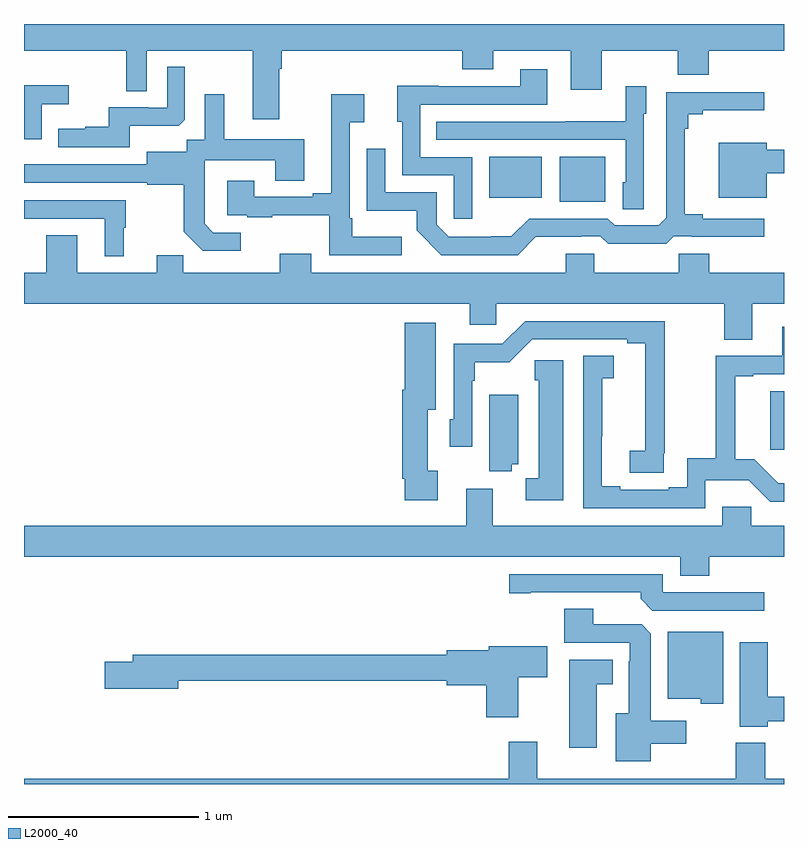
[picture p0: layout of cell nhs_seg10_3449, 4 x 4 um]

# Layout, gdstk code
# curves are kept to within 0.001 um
import gdstk
lib = gdstk.Library(unit=1e-6, precision=1e-09)
def R(c, l, rs):  # rectangles x0, y0, x1, y1
    for r in rs: c.add(gdstk.rectangle(r[:2], r[2:], *l))
def P(c, l, *ps):  # polygons
    for p in ps: c.add(gdstk.Polygon(p, *l))
L2000_40 = (2000, 40)

nhs_seg10_3449 = lib.new_cell('nhs_seg10_3449')
R(nhs_seg10_3449, L2000_40, [(302.927,1254.26,303,1254.567), (301.82,1255.565,302.059,1255.801), (301.448,1255.586,301.726,1255.801)])
P(nhs_seg10_3449, L2000_40, [(300.343,1256.264),(300.356,1256.264),(300.356,1256.36),(301.307,1256.36),(301.307,1256.261),(301.471,1256.261),(301.471,1256.36),(301.877,1256.36),(301.877,1256.154),(302.041,1256.154),(302.041,1256.36),(302.441,1256.36),(302.441,1256.232),(302.605,1256.232),(302.605,1256.36),(303,1256.36),(303,1256.5),(299,1256.5),(299,1256.36),(299.538,1256.36),(299.538,1256.146),(299.646,1256.146),(299.646,1256.36),(300.203,1256.36),(300.203,1255.998),(300.343,1255.998)],
  [(299.557,1255.964),(299.815,1255.964),(299.847,1255.995),(299.847,1256.275),(299.754,1256.275),(299.754,1256.058),(299.654,1256.058),(299.654,1256.061),(299.447,1256.061),(299.447,1255.96),(299.323,1255.96),(299.323,1255.948),(299.179,1255.948),(299.179,1255.851),(299.557,1255.851)],
  [(301.359,1255.8),(301.086,1255.8),(301.086,1256.076),(301.753,1256.076),(301.753,1256.263),(301.613,1256.263),(301.613,1256.172),(301.183,1256.172),(301.183,1256.174),(300.965,1256.174),(300.965,1255.986),(300.99,1255.986),(300.99,1255.704),(301.263,1255.704),(301.263,1255.476),(301.359,1255.476)],
  [(299.094,1256.078),(299.236,1256.078),(299.236,1256.177),(299,1256.177),(299,1255.893),(299.094,1255.893)],
  [(302.262,1256.028),(302.275,1256.028),(302.275,1256.173),(302.166,1256.173),(302.166,1255.987),(301.849,1255.987),(301.849,1255.986),(301.171,1255.986),(301.171,1255.89),(302.166,1255.89),(302.166,1255.668),(302.15,1255.668),(302.15,1255.525),(302.262,1255.525)],
  [(301.694,1255.379),(301.934,1255.379),(301.934,1255.383),(302.034,1255.383),(302.074,1255.344),(302.381,1255.344),(302.421,1255.383),(302.515,1255.383),(302.515,1255.379),(302.896,1255.379),(302.896,1255.476),(302.572,1255.476),(302.572,1255.499),(302.477,1255.499),(302.477,1255.949),(302.495,1255.949),(302.495,1256.026),(302.572,1256.026),(302.572,1256.045),(302.896,1256.045),(302.896,1256.142),(302.379,1256.142),(302.379,1255.479),(302.34,1255.44),(302.109,1255.44),(302.073,1255.476),(301.659,1255.476),(301.565,1255.382),(301.46,1255.382),(301.46,1255.38),(301.236,1255.38),(301.173,1255.443),(301.173,1255.614),(300.9,1255.614),(300.9,1255.843),(300.804,1255.843),(300.804,1255.517),(301.066,1255.517),(301.066,1255.415),(301.196,1255.284),(301.599,1255.284)],
  [(300.142,1255.401),(299.997,1255.401),(299.95,1255.448),(299.95,1255.543),(299.952,1255.543),(299.952,1255.784),(300.323,1255.784),(300.323,1255.675),(300.475,1255.675),(300.475,1255.894),(300.055,1255.894),(300.055,1256.131),(299.951,1256.131),(299.951,1255.892),(299.856,1255.892),(299.856,1255.828),(299.645,1255.828),(299.645,1255.761),(299,1255.762),(299,1255.665),(299.649,1255.665),(299.649,1255.653),(299.841,1255.653),(299.841,1255.407),(299.941,1255.307),(300.142,1255.307)],
  [(300.988,1255.381),(300.727,1255.381),(300.727,1255.477),(300.714,1255.477),(300.714,1255.982),(300.79,1255.982),(300.79,1256.131),(300.617,1256.131),(300.617,1255.609),(300.521,1255.609),(300.521,1255.59),(300.211,1255.59),(300.211,1255.675),(300.071,1255.675),(300.071,1255.494),(300.175,1255.494),(300.175,1255.482),(300.307,1255.482),(300.307,1255.493),(300.606,1255.493),(300.606,1255.284),(300.988,1255.284)],
  [(302.908,1255.715),(303,1255.715),(303,1255.837),(302.908,1255.837),(302.908,1255.876),(302.657,1255.876),(302.657,1255.586),(302.908,1255.586)],
  [(299.524,1255.428),(299.536,1255.428),(299.536,1255.572),(299,1255.572),(299,1255.476),(299.426,1255.476),(299.426,1255.277),(299.524,1255.277)],
  [(302.833,1255.028),(303,1255.028),(303,1255.192),(302.606,1255.192),(302.606,1255.29),(302.446,1255.29),(302.446,1255.192),(302.001,1255.192),(302.001,1255.29),(301.85,1255.29),(301.85,1255.192),(300.511,1255.192),(300.511,1255.291),(300.347,1255.291),(300.347,1255.192),(299.837,1255.192),(299.837,1255.283),(299.699,1255.283),(299.699,1255.192),(299.281,1255.192),(299.281,1255.387),(299.117,1255.387),(299.117,1255.192),(299,1255.192),(299,1255.028),(301.346,1255.028),(301.346,1254.918),(301.485,1254.918),(301.485,1255.028),(302.686,1255.028),(302.686,1254.838),(302.833,1254.838)],
  [(302.366,1254.241),(302.372,1254.241),(302.372,1254.936),(301.638,1254.936),(301.518,1254.816),(301.263,1254.816),(301.263,1254.42),(301.242,1254.42),(301.242,1254.276),(301.359,1254.276),(301.359,1254.623),(301.372,1254.623),(301.372,1254.719),(301.553,1254.719),(301.674,1254.84),(302.174,1254.84),(302.174,1254.82),(302.27,1254.82),(302.269,1254.254),(302.187,1254.254),(302.187,1254.139),(302.366,1254.139)],
  [(301.177,1254.15),(301.126,1254.15),(301.126,1254.47),(301.168,1254.47),(301.168,1254.928),(301.004,1254.928),(301.004,1254.574),(300.992,1254.574),(300.992,1254.106),(301.004,1254.106),(301.004,1253.994),(301.177,1253.994)],
  [(302.586,1254.098),(302.815,1254.098),(302.928,1253.985),(303,1253.985),(303,1254.082),(302.969,1254.082),(302.843,1254.208),(302.744,1254.208),(302.744,1254.645),(302.839,1254.645),(302.839,1254.657),(303,1254.657),(303,1254.907),(302.99,1254.907),(302.99,1254.753),(302.641,1254.753),(302.641,1254.215),(302.49,1254.215),(302.49,1254.062),(302.393,1254.062),(302.393,1254.048),(302.137,1254.048),(302.137,1254.068),(302.041,1254.068),(302.041,1254.331),(302.043,1254.331),(302.043,1254.635),(302.104,1254.635),(302.104,1254.755),(301.944,1254.755),(301.944,1253.952),(302.586,1253.952)],
  [(301.837,1254.73),(301.687,1254.73),(301.687,1254.624),(301.709,1254.624),(301.709,1254.108),(301.641,1254.108),(301.641,1253.993),(301.837,1253.993)],
  [(301.568,1254.182),(301.6,1254.182),(301.6,1254.55),(301.448,1254.55),(301.448,1254.145),(301.568,1254.145)],
  [(302.606,1253.696),(303,1253.696),(303,1253.86),(302.827,1253.86),(302.827,1253.958),(302.675,1253.958),(302.675,1253.86),(301.468,1253.86),(301.468,1254.055),(301.328,1254.055),(301.328,1253.86),(299,1253.86),(299,1253.696),(302.453,1253.696),(302.453,1253.597),(302.606,1253.597)],
  [(302.896,1253.508),(302.361,1253.508),(302.361,1253.604),(301.554,1253.604),(301.554,1253.503),(301.666,1253.503),(301.666,1253.508),(302.246,1253.508),(302.246,1253.474),(302.307,1253.412),(302.896,1253.412)],
  [(302.299,1252.712),(302.485,1252.712),(302.485,1252.834),(302.299,1252.834),(302.299,1253.291),(302.25,1253.34),(301.996,1253.34),(301.996,1253.423),(301.844,1253.423),(301.844,1253.244),(302.187,1253.244),(302.187,1253.147),(302.183,1253.147),(302.183,1252.873),(302.114,1252.873),(302.114,1252.619),(302.299,1252.619)],
  [(302.68,1253.302),(302.387,1253.302),(302.387,1252.949),(302.562,1252.949),(302.562,1252.922),(302.68,1252.922)],
  [(302.915,1252.83),(303,1252.83),(303,1252.958),(302.915,1252.958),(302.915,1253.245),(302.768,1253.245),(302.768,1252.802),(302.915,1252.802)],
  [(301.6,1253.062),(301.753,1253.062),(301.753,1253.224),(301.445,1253.224),(301.445,1253.204),(301.226,1253.204),(301.226,1253.18),(299.573,1253.18),(299.573,1253.144),(299.424,1253.144),(299.424,1253.002),(299.812,1253.002),(299.812,1253.044),(301.226,1253.044),(301.226,1253.021),(301.433,1253.021),(301.433,1252.851),(301.6,1252.851)],
  [(302.014,1253.024),(302.098,1253.024),(302.098,1253.155),(301.871,1253.155),(301.871,1252.692),(302.014,1252.692)],
  [(303,1252.528),(302.9,1252.528),(302.9,1252.717),(302.747,1252.717),(302.747,1252.528),(301.702,1252.528),(301.702,1252.723),(301.55,1252.723),(301.55,1252.528),(299,1252.528),(299,1252.5),(303,1252.5)])

lib.write_gds('nhs_seg10_3449.gds')
